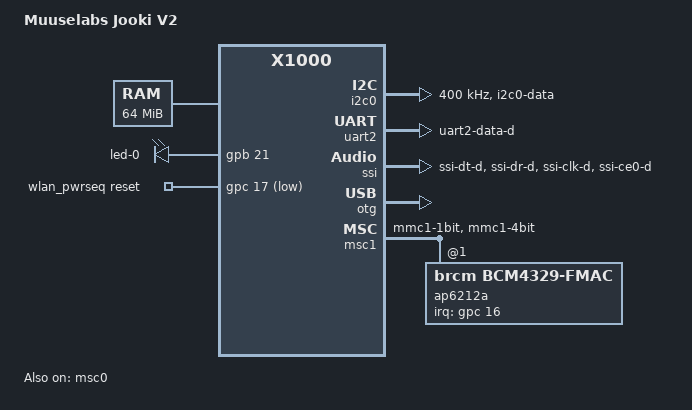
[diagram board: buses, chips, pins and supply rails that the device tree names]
// SPDX-License-Identifier: GPL-2.0
/dts-v1/;

#include "x1000.dtsi"
#include <dt-bindings/gpio/gpio.h>
#include <dt-bindings/clock/ingenic,tcu.h>
#include <dt-bindings/interrupt-controller/irq.h>

/ {
	compatible = "muuselabs,jooki-v2", "ingenic,x1000";
	model = "Muuselabs Jooki V2";

	aliases {
		serial2 = &uart2;
	};

	chosen {
		stdout-path = "serial2:115200n8";
	};

	memory {
		device_type = "memory";
		reg = <0x0 0x04000000>;
	};

	leds {
		compatible = "gpio-leds";
		led-0 {
			gpios = <&gpb 21 GPIO_ACTIVE_HIGH>;
			linux,default-trigger = "mmc0";
		};
	};

	wlan_pwrseq: msc1-pwrseq {
		compatible = "mmc-pwrseq-simple";

		clocks = <&lpoclk>;
		clock-names = "ext_clock";

		reset-gpios = <&gpc 17 GPIO_ACTIVE_LOW>;
		post-power-on-delay-ms = <200>;

		lpoclk: ap6212a {
			compatible = "fixed-clock";
			#clock-cells = <0>;
			clock-frequency = <32768>;
		};
	};

	sound_halley2_icdc {
		status = "ok";
		compatible = "ingenic,x1000-sound";
		ingenic,model = "halley2";
		ingenic,dai-link = "i2s-icdc";
		ingenic,stream = "main";
		ingenic,cpu-dai = <&i2s>;
		ingenic,platform = <&aic>;
		ingenic,codec = <&codec>;
		ingenic,codec-dai = "icdc-d3-hifi";
		ingenic,audio-routing = "Speaker", "DO_LO_PWM";
	};
};

&exclk {
	clock-frequency = <24000000>;
};

&ost {
	counting-frequency = <1500000>;
};

&tcu {
	/* 1500 kHz for the system timer */
	assigned-clocks = <&tcu TCU_CLK_TIMER7>;
	assigned-clock-rates = <1500000>;

	/* Use channel #8 for the system timer */
	ingenic,pwm-channels-mask = <0x7f>;
};

&i2c0 {
	status = "okay";

	clock-frequency = <400000>;

	pinctrl-names = "default";
	pinctrl-0 = <&pins_i2c0>;
};

&uart2 {
	status = "okay";

	pinctrl-names = "default";
	pinctrl-0 = <&pins_uart2>;
};

&ssi {
	status = "okay";

	spi-max-frequency = <50000000>;

	pinctrl-names = "default";
	pinctrl-0 = <&pins_ssi>;
};

&otg {
	status = "okay";
};

&msc0 {
	status = "okay";

	bus-width = <1>;
	max-frequency = <50000000>;

	pinctrl-names = "default";
	pinctrl-0 = <&pins_msc0>;

	non-removable;
};

&msc1 {
	status = "okay";

	#address-cells = <1>;
	#size-cells = <0>;
	bus-width = <4>;
	max-frequency = <50000000>;

	pinctrl-names = "default";
	pinctrl-0 = <&pins_msc1>;

	non-removable;

	mmc-pwrseq = <&wlan_pwrseq>;

	ap6212a: wifi@1 {
		compatible = "brcm,bcm4329-fmac";
		reg = <1>;

		interrupt-parent = <&gpc>;
		interrupts = <16 IRQ_TYPE_EDGE_FALLING>;
		interrupt-names = "host-wake";

		brcm,drive-strength = <10>;
	};
};

&pinctrl {
	pins_i2c0: i2c0 {
		function = "i2c0";
		groups = "i2c0-data";
		bias-disable;
	};

	pins_uart2: uart2 {
		function = "uart2";
		groups = "uart2-data-d";
		bias-disable;
	};

	pins_ssi: ssi {
		function = "ssi";
		groups = "ssi-dt-d", "ssi-dr-d", "ssi-clk-d", "ssi-ce0-d";
		bias-disable;
	};

	pins_mac: mac {
		function = "mac";
		groups = "mac";
		bias-disable;
	};

	pins_msc0: msc0 {
		function = "mmc0";
		groups = "mmc0-1bit", "mmc0-4bit", "mmc0-8bit";
		bias-disable;
	};

	pins_msc1: msc1 {
		function = "mmc1";
		groups = "mmc1-1bit", "mmc1-4bit";
		bias-disable;
	};
};
